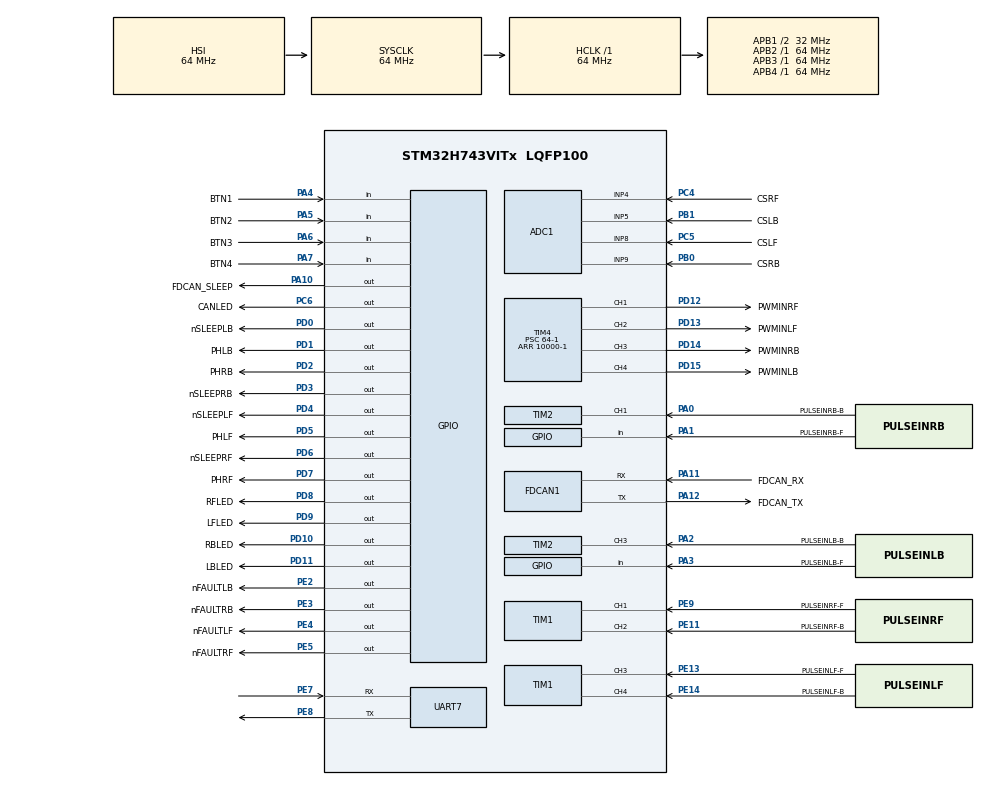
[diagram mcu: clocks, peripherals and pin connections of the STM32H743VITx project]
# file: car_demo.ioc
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ADC1.Channel-0\#ChannelRegularConversion=ADC_CHANNEL_4
ADC1.ClockPrescaler=ADC_CLOCK_ASYNC_DIV4
ADC1.NbrOfConversionFlag=1
ADC1.OffsetNumber-0\#ChannelRegularConversion=ADC_OFFSET_NONE
ADC1.OffsetSignedSaturation-0\#ChannelRegularConversion=DISABLE
ADC1.Rank-0\#ChannelRegularConversion=1
ADC1.SamplingTime-0\#ChannelRegularConversion=ADC_SAMPLETIME_1CYCLE_5
ADC1.master=1
ADC2.Channel-0\#ChannelRegularConversion=ADC_CHANNEL_4
ADC2.ClockPrescaler=ADC_CLOCK_ASYNC_DIV4
ADC2.NbrOfConversionFlag=1
ADC2.OffsetNumber-0\#ChannelRegularConversion=ADC_OFFSET_NONE
ADC2.OffsetSignedSaturation-0\#ChannelRegularConversion=DISABLE
ADC2.Rank-0\#ChannelRegularConversion=1
ADC2.SamplingTime-0\#ChannelRegularConversion=ADC_SAMPLETIME_1CYCLE_5
CORTEX_M7.default_mode_Activation=1
FDCAN1.CalculateBaudRateNominal=625000
FDCAN1.CalculateTimeBitNominal=1600
FDCAN1.CalculateTimeQuantumNominal=320.0
Mcu.Family=STM32H7
Mcu.Name=STM32H743VITx
Mcu.Package=LQFP100
NVIC.PriorityGroup=NVIC_PRIORITYGROUP_4
NVIC.TIM2_IRQn=true\:0\:0\:false\:false\:true\:true\:true\:true
NVIC.TIM6_DAC_IRQn=true\:0\:0\:false\:false\:true\:true\:true\:true
PA0.GPIO_Label=PULSEINRB-B
PA0.Signal=S_TIM2_CH1_ETR
PA1.GPIO_Label=PULSEINRB-F
PA1.Signal=GPIO_Input
PA10.GPIO_Label=FDCAN_SLEEP
PA10.Signal=GPIO_Output
PA11.GPIO_Label=FDCAN_RX
PA11.Mode=FDCAN_Activate
PA11.Signal=FDCAN1_RX
PA12.GPIO_Label=FDCAN_TX
PA12.Mode=FDCAN_Activate
PA12.Signal=FDCAN1_TX
PA2.GPIO_Label=PULSEINLB-B
PA2.Signal=S_TIM2_CH3
PA3.GPIO_Label=PULSEINLB-F
PA3.Signal=GPIO_Input
PA4.GPIO_Label=BTN1
PA4.Signal=GPIO_Input
PA5.GPIO_Label=BTN2
PA5.Signal=GPIO_Input
PA6.GPIO_Label=BTN3
PA6.Signal=GPIO_Input
PA7.GPIO_Label=BTN4
PA7.Signal=GPIO_Input
PB0.GPIO_Label=CSRB
PB0.Signal=ADCx_INP9
PB1.GPIO_Label=CSLB
PB1.Signal=ADCx_INP5
PC14-OSC32_IN\ (OSC32_IN).Mode=LSE-External-Oscillator
PC14-OSC32_IN\ (OSC32_IN).Signal=RCC_OSC32_IN
PC15-OSC32_OUT\ (OSC32_OUT).Mode=LSE-External-Oscillator
PC15-OSC32_OUT\ (OSC32_OUT).Signal=RCC_OSC32_OUT
PC4.GPIO_Label=CSRF
PC4.Signal=ADCx_INP4
PC5.GPIO_Label=CSLF
PC5.Signal=SharedAnalog_PC5
PC6.GPIO_Label=CANLED
PC6.Signal=GPIO_Output
PD0.GPIO_Label=nSLEEPLB
PD0.Signal=GPIO_Output
PD1.GPIO_Label=PHLB
PD1.PinState=GPIO_PIN_SET
PD1.Signal=GPIO_Output
PD10.GPIO_Label=RBLED
PD10.PinState=GPIO_PIN_SET
PD10.Signal=GPIO_Output
PD11.GPIO_Label=LBLED
PD11.PinState=GPIO_PIN_SET
PD11.Signal=GPIO_Output
PD12.GPIO_Label=PWMINRF
PD12.Signal=S_TIM4_CH1
PD13.GPIO_Label=PWMINLF
PD13.Signal=S_TIM4_CH2
PD14.GPIO_Label=PWMINRB
PD14.Signal=S_TIM4_CH3
PD15.GPIO_Label=PWMINLB
PD15.Signal=S_TIM4_CH4
PD2.GPIO_Label=PHRB
PD2.Signal=GPIO_Output
PD3.GPIO_Label=nSLEEPRB
PD3.Signal=GPIO_Output
PD4.GPIO_Label=nSLEEPLF
PD4.Signal=GPIO_Output
PD5.GPIO_Label=PHLF
PD5.PinState=GPIO_PIN_SET
PD5.Signal=GPIO_Output
PD6.GPIO_Label=nSLEEPRF
PD6.Signal=GPIO_Output
PD7.GPIO_Label=PHRF
PD7.Signal=GPIO_Output
PD8.GPIO_Label=RFLED
PD8.PinState=GPIO_PIN_SET
PD8.Signal=GPIO_Output
PD9.GPIO_Label=LFLED
PD9.PinState=GPIO_PIN_SET
PD9.Signal=GPIO_Output
PE11.GPIO_Label=PULSEINRF-B
PE11.Signal=S_TIM1_CH2
PE13.GPIO_Label=PULSEINLF-F
PE13.Signal=S_TIM1_CH3
PE14.GPIO_Label=PULSEINLF-B
PE14.Signal=S_TIM1_CH4
PE2.GPIO_Label=nFAULTLB
PE2.Signal=GPIO_Output
PE3.GPIO_Label=nFAULTRB
PE3.Signal=GPIO_Output
PE4.GPIO_Label=nFAULTLF
PE4.Signal=GPIO_Output
PE5.GPIO_Label=nFAULTRF
PE5.Signal=GPIO_Output
PE7.Mode=Asynchronous
PE7.Signal=UART7_RX
PE8.Mode=Asynchronous
PE8.Signal=UART7_TX
PE9.GPIO_Label=PULSEINRF-F
PE9.Signal=S_TIM1_CH1
PH0-OSC_IN\ (PH0).Mode=HSE-External-Oscillator
PH0-OSC_IN\ (PH0).Signal=RCC_OSC_IN
PH1-OSC_OUT\ (PH1).Mode=HSE-External-Oscillator
PH1-OSC_OUT\ (PH1).Signal=RCC_OSC_OUT
ProjectManager.HeapSize=0x200
ProjectManager.StackSize=0x400
ProjectManager.TargetToolchain=MDK-ARM V5.32
RCC.ADCFreq_Value=75000000
RCC.APB1Freq_Value=32000000
RCC.APB2Freq_Value=64000000
RCC.APB3Freq_Value=64000000
RCC.APB4Freq_Value=64000000
RCC.CortexFreq_Value=64000000
RCC.D2PPRE1=RCC_APB1_DIV2
RCC.DIVM1=4
RCC.DIVM2=4
RCC.DIVN1=9
RCC.DIVN2=9
RCC.DIVQ1=3
RCC.HCLKFreq_Value=64000000
RCC.PLL2FRACN=3072
RCC.PLLFRACN=3072
RCC.SYSCLKFreq_VALUE=64000000
RCC.USBFreq_Value=50000000
SH.ADCx_INP4.0=ADC1_INP4,IN4-Single-Ended
SH.ADCx_INP4.1=ADC2_INP4,IN4-Single-Ended
SH.ADCx_INP5.0=ADC1_INP5,IN5-Single-Ended
SH.ADCx_INP9.0=ADC1_INP9,IN9-Single-Ended
SH.S_TIM1_CH1.0=TIM1_CH1,Input_Capture1_from_TI1
SH.S_TIM1_CH2.0=TIM1_CH2,Input_Capture2_from_TI2
SH.S_TIM1_CH3.0=TIM1_CH3,Input_Capture3_from_TI3
SH.S_TIM1_CH4.0=TIM1_CH4,Input_Capture4_from_TI4
SH.S_TIM2_CH1_ETR.0=TIM2_CH1,Input_Capture1_from_TI1
SH.S_TIM2_CH3.0=TIM2_CH3,Input_Capture3_from_TI3
SH.S_TIM4_CH1.0=TIM4_CH1,PWM Generation1 CH1
SH.S_TIM4_CH2.0=TIM4_CH2,PWM Generation2 CH2
SH.S_TIM4_CH3.0=TIM4_CH3,PWM Generation3 CH3
SH.S_TIM4_CH4.0=TIM4_CH4,PWM Generation4 CH4
SH.SharedAnalog_PC5.0=ADC1_INN4
SH.SharedAnalog_PC5.1=ADC1_INP8,IN8-Single-Ended
TIM1.AutoReloadPreload=TIM_AUTORELOAD_PRELOAD_ENABLE
TIM1.Channel-Input_Capture1_from_TI1=TIM_CHANNEL_1
TIM1.Channel-Input_Capture2_from_TI2=TIM_CHANNEL_2
TIM1.Channel-Input_Capture3_from_TI3=TIM_CHANNEL_3
TIM1.Channel-Input_Capture4_from_TI4=TIM_CHANNEL_4
TIM2.AutoReloadPreload=TIM_AUTORELOAD_PRELOAD_ENABLE
TIM2.Channel-Input_Capture1_from_TI1=TIM_CHANNEL_1
TIM2.Channel-Input_Capture3_from_TI3=TIM_CHANNEL_3
TIM2.Period=10000-1
TIM2.Prescaler=640-1
TIM4.AutoReloadPreload=TIM_AUTORELOAD_PRELOAD_ENABLE
TIM4.Channel-PWM\ Generation1\ CH1=TIM_CHANNEL_1
TIM4.Channel-PWM\ Generation2\ CH2=TIM_CHANNEL_2
TIM4.Channel-PWM\ Generation3\ CH3=TIM_CHANNEL_3
TIM4.Channel-PWM\ Generation4\ CH4=TIM_CHANNEL_4
TIM4.OCPolarity_2=TIM_OCPOLARITY_LOW
TIM4.OCPolarity_4=TIM_OCPOLARITY_LOW
TIM4.Period=10000-1
TIM4.Prescaler=64-1
TIM4.Pulse-PWM\ Generation1\ CH1=10000
TIM4.Pulse-PWM\ Generation2\ CH2=10000
TIM4.Pulse-PWM\ Generation3\ CH3=10000
TIM4.Pulse-PWM\ Generation4\ CH4=10000
TIM6.Period=10000-1
TIM6.Prescaler=640-1
VP_TIM1_VS_ClockSourceINT.Mode=Internal
VP_TIM3_VS_ClockSourceINT.Mode=Internal
VP_TIM4_VS_ClockSourceINT.Mode=Internal
VP_TIM6_VS_ClockSourceINT.Mode=Enable_Timer
board=custom

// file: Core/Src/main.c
/* USER CODE BEGIN Header */
/**
  ******************************************************************************
  * @file           : main.c
  * @brief          : Main program body
  ******************************************************************************
  * @attention
  *
  * Copyright (c) 2024 STMicroelectronics.
  * All rights reserved.
  *
  * This software is licensed under terms that can be found in the LICENSE file
  * in the root directory of this software component.
  * If no LICENSE file comes with this software, it is provided AS-IS.
  *
  ******************************************************************************
  */
/* USER CODE END Header */
#include "main.h"
#include "adc.h"
#include "fdcan.h"
#include "tim.h"
#include "usart.h"
#include "gpio.h"

/* USER CODE BEGIN Includes */
#include "stdio.h"
/* USER CODE END Includes */

/* USER CODE BEGIN PD */
#define LEFT_Forward  	1				//左轮前进时PH值为1 ， 后退时PH值为0
#define LEFT_Back  			0
#define RIGHT_Forward  	0				//右轮前进时PH值为0 ， 后退时PH值为1
#define RIGHT_Back  		1
#define CAR_Forward			1				//定义小车的前进用1表示 ， 后退用0表示
#define CAR_Back				0
/* USER CODE END PD */

void SystemClock_Config(void);
void PeriphCommonClock_Config(void);
static void MPU_Config(void);
/* USER CODE BEGIN PFP */
void car_LF(unsigned int pwm , uint8_t Dir);
void car_RF(unsigned int pwm , uint8_t Dir);
void car_LB(unsigned int pwm , uint8_t Dir);
void car_RB(unsigned int pwm , uint8_t Dir);
void car_down(void);
/* USER CODE END PFP */

/* USER CODE BEGIN 0 */
/*可调用printf*/
int fputc(int ch,FILE *f)
{
    /*&huart1指的是串口1，如果用别的串口就修改数字*/
    HAL_UART_Transmit(&huart7 , (uint8_t *)&ch , 1 , 0xffff);
    return ch;
}
/* USER CODE END 0 */

int main(void)
{

  /* MPU Configuration--------------------------------------------------------*/
  MPU_Config();

  /* MCU Configuration--------------------------------------------------------*/

  /* Reset of all peripherals, Initializes the Flash interface and the Systick. */
  HAL_Init();

  /* Configure the system clock */
  SystemClock_Config();

/* Configure the peripherals common clocks */
  PeriphCommonClock_Config();

  /* Initialize all configured peripherals */
  MX_GPIO_Init();
  MX_ADC1_Init();
  MX_ADC2_Init();
  MX_FDCAN1_Init();
  MX_TIM1_Init();
  MX_TIM4_Init();
  MX_UART7_Init();
  MX_TIM3_Init();
  MX_TIM2_Init();
  MX_TIM6_Init();
  /* USER CODE BEGIN 2 */
	FDCAN1_Config();
	HAL_TIM_Base_Start_IT(&htim2);
	HAL_TIM_Base_Start_IT(&htim6);
	HAL_TIM_IC_Start_IT(&htim2,TIM_CHANNEL_1);
	HAL_TIM_PWM_Start(&htim4,TIM_CHANNEL_1);
	__HAL_TIM_SetCompare(&htim4,TIM_CHANNEL_1,1000);
	HAL_TIM_PWM_Start(&htim4,TIM_CHANNEL_2);
	__HAL_TIM_SetCompare(&htim4,TIM_CHANNEL_2,1000);
	HAL_TIM_PWM_Start(&htim4,TIM_CHANNEL_3);
	__HAL_TIM_SetCompare(&htim4,TIM_CHANNEL_3,1000);
	HAL_TIM_PWM_Start(&htim4,TIM_CHANNEL_4);
	__HAL_TIM_SetCompare(&htim4,TIM_CHANNEL_4,1000);
  /* USER CODE END 2 */

  /* Infinite loop */
  /* USER CODE BEGIN WHILE */
  while (1)
  {
//		HAL_UART_Transmit(&huart7,&Right_Back_Wheel.Speed,sizeof(Right_Back_Wheel.Speed),10);
		printf("a\n");
		HAL_Delay(100);
//		switch(1){
//			case 1:
//				car_LF(2000);
//				car_RF(2000);
//				car_LB(2000);
//				car_RB(2000);
//			  break;
//			case 2:
//				car_LF(2000);
//				car_RF(2000);
//				car_LB(2000);
//				car_RB(2000);
//				break;
//			case 3:
//				car_LF(500);
//				car_RF(500);
//				car_LB(2000);
//				car_RB(2000);
//				break;
//			case 4:
//				car_LF(2000);
//				car_RF(2000);
//				car_LB(500);
//				car_RB(500);
//				break;
//			default:break;
//		}
//		HAL_Delay(5000);
//		car_down();
//		HAL_Delay(5000);

    /* USER CODE END WHILE */

  }
}

void SystemClock_Config(void)
{
  RCC_OscInitTypeDef RCC_OscInitStruct = {0};
  RCC_ClkInitTypeDef RCC_ClkInitStruct = {0};

  /** Supply configuration update enable
  */
  HAL_PWREx_ConfigSupply(PWR_LDO_SUPPLY);

  /** Configure the main internal regulator output voltage
  */
  __HAL_PWR_VOLTAGESCALING_CONFIG(PWR_REGULATOR_VOLTAGE_SCALE3);

  while(!__HAL_PWR_GET_FLAG(PWR_FLAG_VOSRDY)) {}

  /** Initializes the RCC Oscillators according to the specified parameters
  * in the RCC_OscInitTypeDef structure.
  */
  RCC_OscInitStruct.OscillatorType = RCC_OSCILLATORTYPE_HSI;
  RCC_OscInitStruct.HSIState = RCC_HSI_DIV1;
  RCC_OscInitStruct.HSICalibrationValue = RCC_HSICALIBRATION_DEFAULT;
  RCC_OscInitStruct.PLL.PLLState = RCC_PLL_ON;
  RCC_OscInitStruct.PLL.PLLSource = RCC_PLLSOURCE_HSI;
  RCC_OscInitStruct.PLL.PLLM = 4;
  RCC_OscInitStruct.PLL.PLLN = 9;
  RCC_OscInitStruct.PLL.PLLP = 2;
  RCC_OscInitStruct.PLL.PLLQ = 3;
  RCC_OscInitStruct.PLL.PLLR = 2;
  RCC_OscInitStruct.PLL.PLLRGE = RCC_PLL1VCIRANGE_3;
  RCC_OscInitStruct.PLL.PLLVCOSEL = RCC_PLL1VCOMEDIUM;
  RCC_OscInitStruct.PLL.PLLFRACN = 3072;
  if (HAL_RCC_OscConfig(&RCC_OscInitStruct) != HAL_OK)
  {
    Error_Handler();
  }

  /** Initializes the CPU, AHB and APB buses clocks
  */
  RCC_ClkInitStruct.ClockType = RCC_CLOCKTYPE_HCLK|RCC_CLOCKTYPE_SYSCLK
                              |RCC_CLOCKTYPE_PCLK1|RCC_CLOCKTYPE_PCLK2
                              |RCC_CLOCKTYPE_D3PCLK1|RCC_CLOCKTYPE_D1PCLK1;
  RCC_ClkInitStruct.SYSCLKSource = RCC_SYSCLKSOURCE_HSI;
  RCC_ClkInitStruct.SYSCLKDivider = RCC_SYSCLK_DIV1;
  RCC_ClkInitStruct.AHBCLKDivider = RCC_HCLK_DIV1;
  RCC_ClkInitStruct.APB3CLKDivider = RCC_APB3_DIV1;
  RCC_ClkInitStruct.APB1CLKDivider = RCC_APB1_DIV2;
  RCC_ClkInitStruct.APB2CLKDivider = RCC_APB2_DIV1;
  RCC_ClkInitStruct.APB4CLKDivider = RCC_APB4_DIV1;

  if (HAL_RCC_ClockConfig(&RCC_ClkInitStruct, FLASH_LATENCY_1) != HAL_OK)
  {
    Error_Handler();
  }
}

void PeriphCommonClock_Config(void)
{
  RCC_PeriphCLKInitTypeDef PeriphClkInitStruct = {0};

  /** Initializes the peripherals clock
  */
  PeriphClkInitStruct.PeriphClockSelection = RCC_PERIPHCLK_ADC;
  PeriphClkInitStruct.PLL2.PLL2M = 4;
  PeriphClkInitStruct.PLL2.PLL2N = 9;
  PeriphClkInitStruct.PLL2.PLL2P = 2;
  PeriphClkInitStruct.PLL2.PLL2Q = 2;
  PeriphClkInitStruct.PLL2.PLL2R = 2;
  PeriphClkInitStruct.PLL2.PLL2RGE = RCC_PLL2VCIRANGE_3;
  PeriphClkInitStruct.PLL2.PLL2VCOSEL = RCC_PLL2VCOMEDIUM;
  PeriphClkInitStruct.PLL2.PLL2FRACN = 3072;
  PeriphClkInitStruct.AdcClockSelection = RCC_ADCCLKSOURCE_PLL2;
  if (HAL_RCCEx_PeriphCLKConfig(&PeriphClkInitStruct) != HAL_OK)
  {
    Error_Handler();
  }
}

/* USER CODE BEGIN 4 */
void car_LF(unsigned int pwm , uint8_t Dir)
{
	HAL_GPIO_WritePin(GPIOD,PHLF_Pin,Dir);
	__HAL_TIM_SetCompare(&htim4,TIM_CHANNEL_2,pwm);
	HAL_GPIO_WritePin(GPIOD, nSLEEPLF_Pin, GPIO_PIN_SET);
	HAL_GPIO_WritePin(GPIOD,LFLED_Pin,GPIO_PIN_RESET);

}
void car_RF(unsigned int pwm , uint8_t Dir)
{
	HAL_GPIO_WritePin(GPIOD,PHRF_Pin,Dir);
	__HAL_TIM_SetCompare(&htim4,TIM_CHANNEL_1,pwm);
	HAL_GPIO_WritePin(GPIOD, nSLEEPRF_Pin, GPIO_PIN_SET);
	HAL_GPIO_WritePin(GPIOD,RFLED_Pin,GPIO_PIN_RESET);

}
void car_LB(unsigned int pwm , uint8_t Dir)
{
	HAL_GPIO_WritePin(GPIOD,PHLB_Pin,Dir);
	__HAL_TIM_SetCompare(&htim4,TIM_CHANNEL_4,pwm);
	HAL_GPIO_WritePin(GPIOD, nSLEEPLB_Pin, GPIO_PIN_SET);
	HAL_GPIO_WritePin(GPIOD,LBLED_Pin,GPIO_PIN_RESET);

}
void car_RB(unsigned int pwm , uint8_t Dir)
{
	HAL_GPIO_WritePin(GPIOD,PHRB_Pin,Dir);
	__HAL_TIM_SetCompare(&htim4,TIM_CHANNEL_3,pwm);
	HAL_GPIO_WritePin(GPIOD, nSLEEPRB_Pin, GPIO_PIN_SET);
	HAL_GPIO_WritePin(GPIOD,RBLED_Pin,GPIO_PIN_RESET);

}
void car_down(void)
{
	HAL_GPIO_WritePin(GPIOD, nSLEEPLF_Pin|nSLEEPLB_Pin|nSLEEPRF_Pin|nSLEEPRB_Pin, GPIO_PIN_RESET);
	HAL_GPIO_WritePin(GPIOD, PHLF_Pin|PHLB_Pin|PHRF_Pin|PHRB_Pin, GPIO_PIN_RESET);
	HAL_GPIO_WritePin(GPIOD,LBLED_Pin|RBLED_Pin|LFLED_Pin|RFLED_Pin,GPIO_PIN_SET);
}

void car_move(unsigned int pwm , uint8_t Dir)
{
	car_RF(pwm,!Dir);				//小车定义的向前跟右轮的向前刚好相反，要加个取反
	car_RB(pwm,!Dir);
	car_LF(pwm,Dir);
	car_LB(pwm,Dir);

}
/* USER CODE END 4 */

 /* MPU Configuration */

void MPU_Config(void)
{
  MPU_Region_InitTypeDef MPU_InitStruct = {0};

  /* Disables the MPU */
  HAL_MPU_Disable();

  /** Initializes and configures the Region and the memory to be protected
  */
  MPU_InitStruct.Enable = MPU_REGION_ENABLE;
  MPU_InitStruct.Number = MPU_REGION_NUMBER0;
  MPU_InitStruct.BaseAddress = 0x0;
  MPU_InitStruct.Size = MPU_REGION_SIZE_4GB;
  MPU_InitStruct.SubRegionDisable = 0x87;
  MPU_InitStruct.TypeExtField = MPU_TEX_LEVEL0;
  MPU_InitStruct.AccessPermission = MPU_REGION_NO_ACCESS;
  MPU_InitStruct.DisableExec = MPU_INSTRUCTION_ACCESS_DISABLE;
  MPU_InitStruct.IsShareable = MPU_ACCESS_SHAREABLE;
  MPU_InitStruct.IsCacheable = MPU_ACCESS_NOT_CACHEABLE;
  MPU_InitStruct.IsBufferable = MPU_ACCESS_NOT_BUFFERABLE;

  HAL_MPU_ConfigRegion(&MPU_InitStruct);
  /* Enables the MPU */
  HAL_MPU_Enable(MPU_PRIVILEGED_DEFAULT);

}

void Error_Handler(void)
{
  __disable_irq();
  while (1)
  {
  }
}
